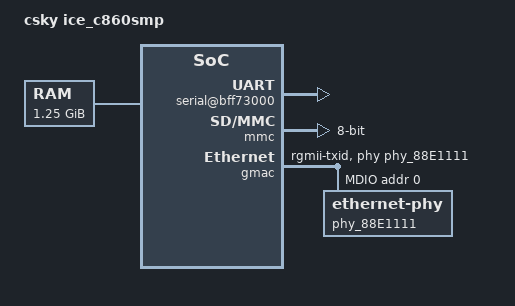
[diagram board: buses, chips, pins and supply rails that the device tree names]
/dts-v1/;
/ {
    model = "csky ice_c860smp";
    compatible = "csky,ice_c860smp";
    #address-cells = <1>;
    #size-cells = <1>;

    memory {
        device_type = "memory";
        reg = <0x00000000 0x30000000>,
            <0x60000000 0x20000000>;
    };

    cpus {
        #address-cells = <1>;
        #size-cells = <0>;
        timebase-frequency = <50000000>;
        cpu@0 {
            device_type = "cpu";
            reg = <0>;
            status = "okay";
            compatible = "csky";
            csky,isa = "Xuantie 860";
        };
    };

    soc {
        #address-cells = <1>;
        #size-cells = <1>;
        compatible = "simple-bus";
        ranges;

        intc: interrupt-controller {
            compatible = "csky,mpintc";
            interrupt-controller;
            #interrupt-cells = <1>;
        };

        dummy_apb: apb-clock {
            compatible = "fixed-clock";
            clock-frequency = <62500000>;
            clock-output-names = "dummy_apb";
            #clock-cells = <0>;
        };

        serial@bff73000 {
            compatible = "snps,dw-apb-uart";
            reg = <0xbff73000 0x400>;
            interrupt-parent = <&intc>;
            interrupts = <39>;
            clocks = <&dummy_apb>;
            clock-frequency = <62500000>;
            clock-names = "baudclk";
            reg-shift = <2>;
            reg-io-width = <4>;
        };

        mmc: mmc0@bffb0000 {
            compatible = "snps,dw-mshc";
            reg = <0xbffb0000 0x400>;
            bus-width = <8>;
            clocks = <&dummy_apb>, <&dummy_apb>;
            clock-names = "biu", "ciu";
            max-frequency = <25000000>;
        };

        gmac: ethernet@bffc0000 {
            compatible = "snps,arc-dwmac-3.70a";
            reg = <0xbffc0000 0x2000>;
            interrupt-parent = <&intc>;
            interrupts = <56>;
            interrupt-names = "macirq";
            clocks = <&dummy_apb>;
            clock-names = "stmmaceth";
            snps,pbl = <32>;
            snps,fixed-burst;

            phy-mode = "rgmii-txid";
            rx-clk-delay = <0x1f>; /* for RGMII */
            tx-clk-delay = <0>;    /* for RGMII */
            phy-handle = <&phy_88E1111>;
            max-speed = <100>;
            mdio0 {
                #address-cells = <1>;
                #size-cells = <0>;
                compatible = "snps,dwmac-mdio";

                phy_88E1111: ethernet-phy@0 {
                    reg = <0>;
                };
            };
        };
    };

    chosen {
        bootargs = "console=ttyS0,115200";
        stdout-path = "/soc/serial@bff73000:115200";
    };
};
